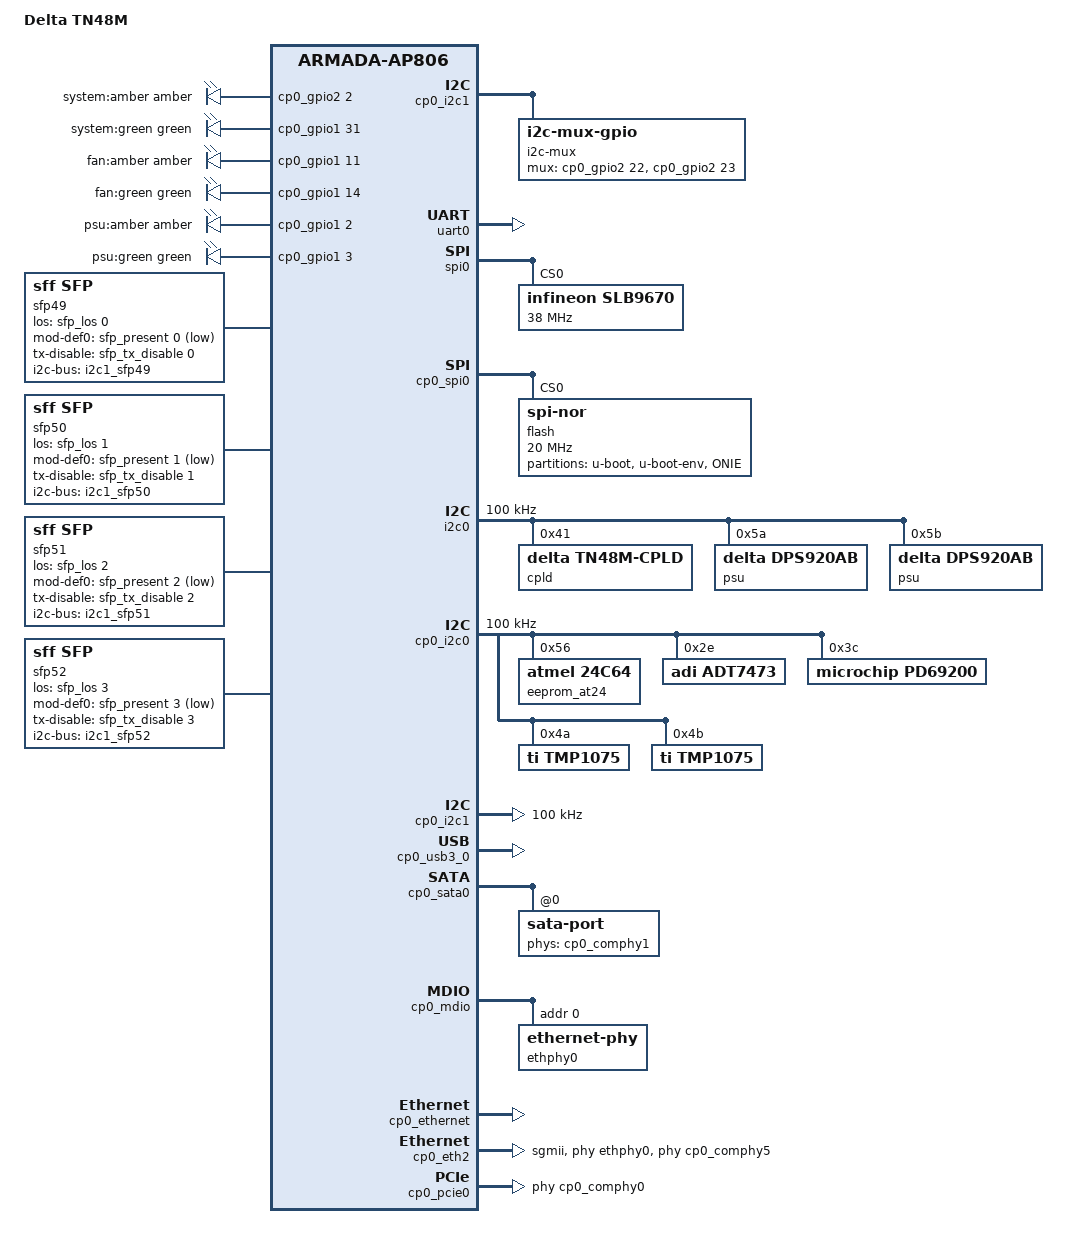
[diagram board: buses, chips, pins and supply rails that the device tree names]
// SPDX-License-Identifier: GPL-2.0-or-later OR MIT
/*
 * Copyright (C) 2016 Marvell Technology Group Ltd.
 * Copyright (C) 2021 Sartura Ltd.
 *
 * Device Tree file for Delta TN48M switch
 */

#include <dt-bindings/reset/delta,tn48m-reset.h>
#include <dt-bindings/leds/common.h>
#include <dt-bindings/gpio/gpio.h>
#include "armada-7040.dtsi"

/ {
	model = "Delta TN48M";
	compatible = "delta,tn48m", "marvell,armada7040",
		     "marvell,armada-ap806-quad", "marvell,armada-ap806";

	chosen {
		stdout-path = "serial0:115200n8";
	};

	aliases {
		ethernet2 = &cp0_eth2;
	};

	switch-cpu {
		status = "okay";
		compatible = "marvell,prestera-switch-rxtx-sdma";
	};

	prestera {
		status = "okay";
		compatible = "marvell,prestera";
		base-mac-provider = <&onie_eeprom>;

		ports {
			port49 {
				prestera,port-num = <49>;
				sfp = <&sfp49>;
			};

			port50 {
				prestera,port-num = <50>;
				sfp = <&sfp50>;
			};

			port51 {
				prestera,port-num = <51>;
				sfp = <&sfp51>;
			};

			port52 {
				prestera,port-num = <52>;
				sfp = <&sfp52>;
			};
		};
	};

	leds {
		compatible = "gpio-leds";

		sys-amber {
			gpios = <&cp0_gpio2 2 GPIO_ACTIVE_HIGH>;
			color = <LED_COLOR_ID_AMBER>;
			label = "system:amber";
			default-state = "off";
			panic-indicator;
		};

		sys-green {
			gpios = <&cp0_gpio1 31 GPIO_ACTIVE_HIGH>;
			color = <LED_COLOR_ID_GREEN>;
			label = "system:green";
			default-state = "on";
		};

		fan-amber {
			gpios = <&cp0_gpio1 11 GPIO_ACTIVE_HIGH>;
			color = <LED_COLOR_ID_AMBER>;
			label = "fan:amber";
			default-state = "off";
		};

		fan-green {
			gpios = <&cp0_gpio1 14 GPIO_ACTIVE_HIGH>;
			color = <LED_COLOR_ID_GREEN>;
			label = "fan:green";
			default-state = "on";
		};

		psu-amber {
			gpios = <&cp0_gpio1 2 GPIO_ACTIVE_HIGH>;
			color = <LED_COLOR_ID_AMBER>;
			label = "psu:amber";
			default-state = "off";
		};

		psu-green {
			gpios = <&cp0_gpio1 3 GPIO_ACTIVE_HIGH>;
			color = <LED_COLOR_ID_GREEN>;
			label = "psu:green";
			default-state = "on";
		};
	};

	onie_eeprom: onie-eeprom {
		status = "okay";
		compatible = "onie,nvmem-cells";

		nvmem-name = "1-00563";
		nvmem = <&eeprom_at24>;
	};

	i2c-mux {
		compatible = "i2c-mux-gpio";
		#address-cells = <1>;
		#size-cells = <0>;
		mux-gpios = <&cp0_gpio2 22 GPIO_ACTIVE_HIGH
			     &cp0_gpio2 23 GPIO_ACTIVE_HIGH>;
		i2c-parent = <&cp0_i2c1>;

		i2c1_sfp49: i2c@0 {
			reg = <0>;
		};

		i2c1_sfp50: i2c@1 {
			reg = <1>;
		};

		i2c1_sfp51: i2c@2 {
			reg = <2>;
		};

		i2c1_sfp52: i2c@3 {
			reg = <3>;
		};
	};

	sfp49: sfp-49 {
		compatible = "sff,sfp";
		i2c-bus = <&i2c1_sfp49>;
		los-gpio = <&sfp_los 0 GPIO_ACTIVE_HIGH>;
		mod-def0-gpio = <&sfp_present 0 GPIO_ACTIVE_LOW>;
		tx-disable-gpio = <&sfp_tx_disable 0 GPIO_ACTIVE_HIGH>;
	};

	sfp50: sfp-50 {
		compatible = "sff,sfp";
		i2c-bus = <&i2c1_sfp50>;
		los-gpio = <&sfp_los 1 GPIO_ACTIVE_HIGH>;
		mod-def0-gpio = <&sfp_present 1 GPIO_ACTIVE_LOW>;
		tx-disable-gpio = <&sfp_tx_disable 1 GPIO_ACTIVE_HIGH>;
	};

	sfp51: sfp-51 {
		compatible = "sff,sfp";
		i2c-bus = <&i2c1_sfp51>;
		los-gpio = <&sfp_los 2 GPIO_ACTIVE_HIGH>;
		mod-def0-gpio = <&sfp_present 2 GPIO_ACTIVE_LOW>;
		tx-disable-gpio = <&sfp_tx_disable 2 GPIO_ACTIVE_HIGH>;
	};

	sfp52: sfp-52 {
		compatible = "sff,sfp";
		i2c-bus = <&i2c1_sfp52>;
		los-gpio = <&sfp_los 3 GPIO_ACTIVE_HIGH>;
		mod-def0-gpio = <&sfp_present 3 GPIO_ACTIVE_LOW>;
		tx-disable-gpio = <&sfp_tx_disable 3 GPIO_ACTIVE_HIGH>;
	};
};

&uart0 {
	status = "okay";
	pinctrl-0 = <&uart0_pins>;
	pinctrl-names = "default";
};

&spi0 {
	status = "okay";

	slb9670@0 {
		compatible = "infineon,slb9670";
		reg = <0>;
		spi-max-frequency = <38000000>;
	};
};

&cp0_spi0 {
	status = "okay";

	flash@0 {
		compatible = "jedec,spi-nor";
		reg = <0>;
		spi-max-frequency = <20000000>;

		partitions {
			compatible = "fixed-partitions";
			#address-cells = <1>;
			#size-cells = <1>;

			partition@0 {
				label = "u-boot";
				reg = <0x0 0x3f0000>;
				read-only;
			};

			partition@3f0000 {
				label = "u-boot-env";
				reg = <0x3f0000 0x010000>;
			};

			partition@400000 {
				label = "ONIE";
				reg = <0x400000 0xc00000>;
			};
		};
	};
};

&i2c0 {
	status = "okay";
	clock-frequency = <100000>;

	cpld: cpld@41 {
		compatible = "delta,tn48m-cpld";
		reg = <0x41>;
		#address-cells = <1>;
		#size-cells = <0>;

		sfp_tx_disable: gpio@31 {
			compatible = "delta,tn48m-gpo";
			reg = <0x31>;
			gpio-controller;
			#gpio-cells = <2>;
		};

		sfp_present: gpio@3a {
			compatible = "delta,tn48m-gpi";
			reg = <0x3a>;
			gpio-controller;
			#gpio-cells = <2>;
		};

		sfp_los: gpio@40 {
			compatible = "delta,tn48m-gpi";
			reg = <0x40>;
			gpio-controller;
			#gpio-cells = <2>;
		};

		cpld_reset: reset-controller {
			compatible = "delta,tn48m-reset";
			#reset-cells = <1>;
		};

		cpldinfo {
			compatible = "delta,cpldinfo";
		};
	};

	psu@5a {
		compatible = "delta,dps920ab";
		reg = <0x5a>;
	};

	psu@5b {
		compatible = "delta,dps920ab";
		reg = <0x5b>;
	};
};

&cp0_i2c0 {
	status = "okay";
	clock-frequency = <100000>;

	eeprom_at24: at24@56 {
		compatible = "atmel,24c64";
		reg = <0x56>;
	};

	adt7473@2e {
		compatible = "adi,adt7473";
		reg = <0x2e>;
	};

	pd69200@3c {
		compatible = "microchip,pd69200";
		reg = <0x3c>;
	};

	tmp1075@4a {
		compatible = "ti,tmp1075";
		reg = <0x4a>;
	};

	tmp1075@4b {
		compatible = "ti,tmp1075";
		reg = <0x4b>;
	};
};

&cp0_i2c1 {
	status = "okay";
	clock-frequency = <100000>;
};

&cp0_usb3_0 {
	status = "okay";
};

&cp0_sata0 {
	status = "okay";

	sata-port@0 {
		status = "okay";
		phys = <&cp0_comphy1 0>;
	};
};

&cp0_mdio {
	status = "okay";

	ethphy0: ethernet-phy@0 {
		reg = <0>;
	};
};

&cp0_ethernet {
	status = "okay";
};

&cp0_eth2 {
	status = "okay";
	phy = <&ethphy0>;
	phy-mode = "sgmii";
	phys = <&cp0_comphy5 2>;
};

&cp0_pcie0 {
	status = "okay";
	phys = <&cp0_comphy0 0>;

	dma-ranges = <0x42000000 0x0 0x00000000 0x0 0x00000000 0x0 0x40000000>;
};
